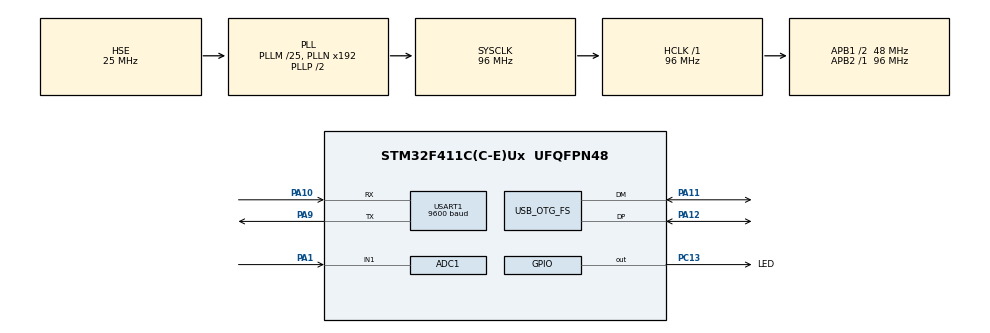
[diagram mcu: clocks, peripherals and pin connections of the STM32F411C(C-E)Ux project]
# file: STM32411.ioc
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ADC1.Channel-1\#ChannelRegularConversion=ADC_CHANNEL_1
ADC1.NbrOfConversionFlag=1
ADC1.Rank-1\#ChannelRegularConversion=1
ADC1.SamplingTime-1\#ChannelRegularConversion=ADC_SAMPLETIME_3CYCLES
ADC1.master=1
Mcu.Family=STM32F4
Mcu.Name=STM32F411C(C-E)Ux
Mcu.Package=UFQFPN48
NVIC.OTG_FS_IRQn=true\:0\:0\:false\:false\:true\:false\:true\:true
NVIC.PriorityGroup=NVIC_PRIORITYGROUP_4
PA1.Signal=ADCx_IN1
PA10.Mode=Asynchronous
PA10.Signal=USART1_RX
PA11.Mode=Device_Only
PA11.Signal=USB_OTG_FS_DM
PA12.Mode=Device_Only
PA12.Signal=USB_OTG_FS_DP
PA13.Mode=Serial_Wire
PA13.Signal=SYS_JTMS-SWDIO
PA14.Mode=Serial_Wire
PA14.Signal=SYS_JTCK-SWCLK
PA9.Mode=Asynchronous
PA9.Signal=USART1_TX
PC13-ANTI_TAMP.GPIO_Label=LED
PC13-ANTI_TAMP.Signal=GPIO_Output
PH0\ -\ OSC_IN.Mode=HSE-External-Oscillator
PH0\ -\ OSC_IN.Signal=RCC_OSC_IN
PH1\ -\ OSC_OUT.Mode=HSE-External-Oscillator
PH1\ -\ OSC_OUT.Signal=RCC_OSC_OUT
ProjectManager.HeapSize=0x200
ProjectManager.StackSize=0x400
ProjectManager.TargetToolchain=STM32CubeIDE
RCC.48MHZClocksFreq_Value=48000000
RCC.AHBFreq_Value=96000000
RCC.APB1CLKDivider=RCC_HCLK_DIV2
RCC.APB1Freq_Value=48000000
RCC.APB1TimFreq_Value=96000000
RCC.APB2Freq_Value=96000000
RCC.APB2TimFreq_Value=96000000
RCC.CortexFreq_Value=96000000
RCC.EnbaleCSS=true
RCC.HCLKFreq_Value=96000000
RCC.HSE_VALUE=25000000
RCC.HSI_VALUE=16000000
RCC.LSE_VALUE=32768
RCC.PLLM=25
RCC.SYSCLKFreq_VALUE=96000000
RCC.SYSCLKSource=RCC_SYSCLKSOURCE_PLLCLK
RCC.VCOOutputFreq_Value=192000000
SH.ADCx_IN1.0=ADC1_IN1,IN1
USART1.BaudRate=9600
USART1.VirtualMode=VM_ASYNC
USB_DEVICE.CLASS_NAME_FS=CDC
USB_DEVICE.VirtualMode=Cdc
USB_DEVICE.VirtualModeFS=Cdc_FS
USB_OTG_FS.VirtualMode=Device_Only
VP_USB_DEVICE_VS_USB_DEVICE_CDC_FS.Mode=CDC_FS
board=custom

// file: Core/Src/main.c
/* USER CODE BEGIN Header */
/**
  ******************************************************************************
  * @file           : main.c
  * @brief          : Main program body
  ******************************************************************************
  * @attention
  *
  * Copyright (c) 2026 STMicroelectronics.
  * All rights reserved.
  *
  * This software is licensed under terms that can be found in the LICENSE file
  * in the root directory of this software component.
  * If no LICENSE file comes with this software, it is provided AS-IS.
  *
  ******************************************************************************
  */
/* USER CODE END Header */
#include "main.h"
#include "usb_device.h"
//#include "string.h"
#include "usbd_cdc_if.h"   /* CDC_Transmit_FS */

ADC_HandleTypeDef hadc1;

UART_HandleTypeDef huart1;

void SystemClock_Config(void);
static void MX_GPIO_Init(void);
static void MX_ADC1_Init(void);
static void MX_USART1_UART_Init(void);

/* USER CODE BEGIN 0 */

int serial_print(char *ptr, int len){
    CDC_Transmit_FS((uint8_t*)ptr, len);
    HAL_Delay(1);
    return len;
}

/* USER CODE END 0 */

int main(void)
{

  /* MCU Configuration--------------------------------------------------------*/

  /* Reset of all peripherals, Initializes the Flash interface and the Systick. */
  HAL_Init();

  /* Configure the system clock */
  SystemClock_Config();

  /* Initialize all configured peripherals */
  MX_GPIO_Init();
  MX_USB_DEVICE_Init();
  MX_ADC1_Init();
  MX_USART1_UART_Init();

  /* Infinite loop */
  while (1)
      {

    /* USER CODE BEGIN 3 */
        char msg[64];
        int len;

        uint8_t byte_to_send = 0x42;
        HAL_UART_Transmit(&huart1, &byte_to_send, 1, HAL_MAX_DELAY);

        len = snprintf(msg, sizeof(msg), "Надіслано: 0x%02X ('%c')\r\n", byte_to_send, byte_to_send);
        serial_print(msg, len);

        uint8_t rx_byte;
        if (HAL_UART_Receive(&huart1, &rx_byte, 1, 1000) == HAL_OK) {
            len = snprintf(msg, sizeof(msg), "Отримано: 0x%02X ('%c')\r\n", rx_byte, rx_byte);
            serial_print(msg, len);
        }

        HAL_Delay(1000);
      }
  /* USER CODE END 3 */
}

void SystemClock_Config(void)
{
  RCC_OscInitTypeDef RCC_OscInitStruct = {0};
  RCC_ClkInitTypeDef RCC_ClkInitStruct = {0};

  /** Configure the main internal regulator output voltage
  */
  __HAL_RCC_PWR_CLK_ENABLE();
  __HAL_PWR_VOLTAGESCALING_CONFIG(PWR_REGULATOR_VOLTAGE_SCALE1);

  /** Initializes the RCC Oscillators according to the specified parameters
  * in the RCC_OscInitTypeDef structure.
  */
  RCC_OscInitStruct.OscillatorType = RCC_OSCILLATORTYPE_HSE;
  RCC_OscInitStruct.HSEState = RCC_HSE_ON;
  RCC_OscInitStruct.PLL.PLLState = RCC_PLL_ON;
  RCC_OscInitStruct.PLL.PLLSource = RCC_PLLSOURCE_HSE;
  RCC_OscInitStruct.PLL.PLLM = 25;
  RCC_OscInitStruct.PLL.PLLN = 192;
  RCC_OscInitStruct.PLL.PLLP = RCC_PLLP_DIV2;
  RCC_OscInitStruct.PLL.PLLQ = 4;
  if (HAL_RCC_OscConfig(&RCC_OscInitStruct) != HAL_OK)
  {
    Error_Handler();
  }

  /** Initializes the CPU, AHB and APB buses clocks
  */
  RCC_ClkInitStruct.ClockType = RCC_CLOCKTYPE_HCLK|RCC_CLOCKTYPE_SYSCLK
                              |RCC_CLOCKTYPE_PCLK1|RCC_CLOCKTYPE_PCLK2;
  RCC_ClkInitStruct.SYSCLKSource = RCC_SYSCLKSOURCE_PLLCLK;
  RCC_ClkInitStruct.AHBCLKDivider = RCC_SYSCLK_DIV1;
  RCC_ClkInitStruct.APB1CLKDivider = RCC_HCLK_DIV2;
  RCC_ClkInitStruct.APB2CLKDivider = RCC_HCLK_DIV1;

  if (HAL_RCC_ClockConfig(&RCC_ClkInitStruct, FLASH_LATENCY_3) != HAL_OK)
  {
    Error_Handler();
  }

  /** Enables the Clock Security System
  */
  HAL_RCC_EnableCSS();
}

static void MX_ADC1_Init(void)
{

  ADC_ChannelConfTypeDef sConfig = {0};

  /** Configure the global features of the ADC (Clock, Resolution, Data Alignment and number of conversion)
  */
  hadc1.Instance = ADC1;
  hadc1.Init.ClockPrescaler = ADC_CLOCK_SYNC_PCLK_DIV4;
  hadc1.Init.Resolution = ADC_RESOLUTION_12B;
  hadc1.Init.ScanConvMode = DISABLE;
  hadc1.Init.ContinuousConvMode = DISABLE;
  hadc1.Init.DiscontinuousConvMode = DISABLE;
  hadc1.Init.ExternalTrigConvEdge = ADC_EXTERNALTRIGCONVEDGE_NONE;
  hadc1.Init.ExternalTrigConv = ADC_SOFTWARE_START;
  hadc1.Init.DataAlign = ADC_DATAALIGN_RIGHT;
  hadc1.Init.NbrOfConversion = 1;
  hadc1.Init.DMAContinuousRequests = DISABLE;
  hadc1.Init.EOCSelection = ADC_EOC_SINGLE_CONV;
  if (HAL_ADC_Init(&hadc1) != HAL_OK)
  {
    Error_Handler();
  }

  /** Configure for the selected ADC regular channel its corresponding rank in the sequencer and its sample time.
  */
  sConfig.Channel = ADC_CHANNEL_1;
  sConfig.Rank = 1;
  sConfig.SamplingTime = ADC_SAMPLETIME_3CYCLES;
  if (HAL_ADC_ConfigChannel(&hadc1, &sConfig) != HAL_OK)
  {
    Error_Handler();
  }

}

static void MX_USART1_UART_Init(void)
{

  huart1.Instance = USART1;
  huart1.Init.BaudRate = 9600;
  huart1.Init.WordLength = UART_WORDLENGTH_8B;
  huart1.Init.StopBits = UART_STOPBITS_1;
  huart1.Init.Parity = UART_PARITY_NONE;
  huart1.Init.Mode = UART_MODE_TX_RX;
  huart1.Init.HwFlowCtl = UART_HWCONTROL_NONE;
  huart1.Init.OverSampling = UART_OVERSAMPLING_16;
  if (HAL_UART_Init(&huart1) != HAL_OK)
  {
    Error_Handler();
  }

}

static void MX_GPIO_Init(void)
{
  GPIO_InitTypeDef GPIO_InitStruct = {0};

  /* GPIO Ports Clock Enable */
  __HAL_RCC_GPIOC_CLK_ENABLE();
  __HAL_RCC_GPIOH_CLK_ENABLE();
  __HAL_RCC_GPIOA_CLK_ENABLE();

  /*Configure GPIO pin Output Level */
  HAL_GPIO_WritePin(LED_GPIO_Port, LED_Pin, GPIO_PIN_RESET);

  /*Configure GPIO pin : LED_Pin */
  GPIO_InitStruct.Pin = LED_Pin;
  GPIO_InitStruct.Mode = GPIO_MODE_OUTPUT_PP;
  GPIO_InitStruct.Pull = GPIO_NOPULL;
  GPIO_InitStruct.Speed = GPIO_SPEED_FREQ_LOW;
  HAL_GPIO_Init(LED_GPIO_Port, &GPIO_InitStruct);

}

void Error_Handler(void)
{
  __disable_irq();
  while (1)
  {
  }
}
